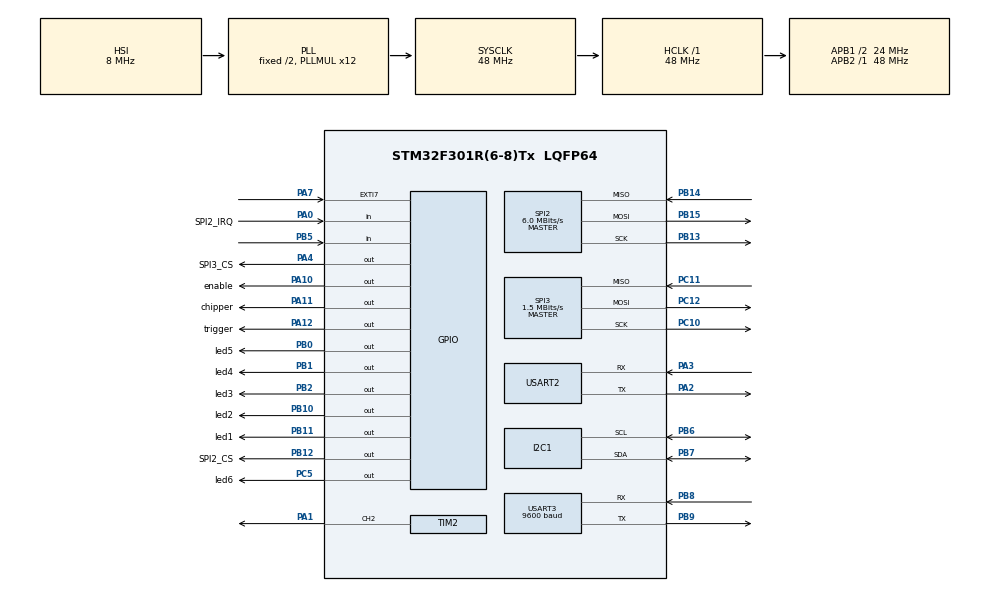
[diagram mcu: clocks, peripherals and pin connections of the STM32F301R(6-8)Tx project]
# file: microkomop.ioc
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I2C1.Timing=0x2000090E
Mcu.Family=STM32F3
Mcu.Name=STM32F301R(6-8)Tx
Mcu.Package=LQFP64
NVIC.EXTI9_5_IRQn=true\:1\:0\:true\:false\:true
NVIC.PriorityGroup=NVIC_PRIORITYGROUP_4
NVIC.TIM1_UP_TIM16_IRQn=true\:0\:0\:false\:false\:true
NVIC.USART3_IRQn=true\:0\:0\:false\:false\:true
PA0.GPIO_Label=SPI2_IRQ
PA0.Signal=GPIO_Input
PA1.Signal=S_TIM2_CH2
PA10.GPIO_Label=enable
PA10.Signal=GPIO_Output
PA11.GPIO_Label=chipper
PA11.Signal=GPIO_Output
PA12.GPIO_Label=trigger
PA12.Signal=GPIO_Output
PA13.Mode=Serial_Wire
PA13.Signal=SYS_JTMS-SWDIO
PA14.Mode=Serial_Wire
PA14.Signal=SYS_JTCK-SWCLK
PA2.Mode=Asynchronous
PA2.Signal=USART2_TX
PA3.Mode=Asynchronous
PA3.Signal=USART2_RX
PA4.GPIO_Label=SPI3_CS
PA4.Signal=GPIO_Output
PA7.GPIO_ModeDefaultEXTI=GPIO_MODE_IT_FALLING
PA7.Signal=GPXTI7
PB0.GPIO_Label=led5
PB0.Signal=GPIO_Output
PB1.GPIO_Label=led4
PB1.Signal=GPIO_Output
PB10.GPIO_Label=led2
PB10.Signal=GPIO_Output
PB11.GPIO_Label=led1
PB11.Signal=GPIO_Output
PB12.GPIO_Label=SPI2_CS
PB12.Signal=GPIO_Output
PB13.Mode=Full_Duplex_Master
PB13.Signal=SPI2_SCK
PB14.Mode=Full_Duplex_Master
PB14.Signal=SPI2_MISO
PB15.Mode=Full_Duplex_Master
PB15.Signal=SPI2_MOSI
PB2.GPIO_Label=led3
PB2.Signal=GPIO_Output
PB3.Signal=SYS_JTDO-TRACESWO
PB4.Signal=SYS_NJTRST
PB5.Signal=GPIO_Input
PB6.Mode=I2C
PB6.Signal=I2C1_SCL
PB7.Mode=I2C
PB7.Signal=I2C1_SDA
PB8.Mode=Asynchronous
PB8.Signal=USART3_RX
PB9.Mode=Asynchronous
PB9.Signal=USART3_TX
PC10.Mode=Full_Duplex_Master
PC10.Signal=SPI3_SCK
PC11.Mode=Full_Duplex_Master
PC11.Signal=SPI3_MISO
PC12.Mode=Full_Duplex_Master
PC12.Signal=SPI3_MOSI
PC5.GPIO_Label=led6
PC5.Signal=GPIO_Output
PF0-OSC_IN.Mode=HSE-External-Oscillator
PF0-OSC_IN.Signal=RCC_OSC_IN
PF1-OSC_OUT.Mode=HSE-External-Oscillator
PF1-OSC_OUT.Signal=RCC_OSC_OUT
ProjectManager.HeapSize=0x200
ProjectManager.StackSize=0x400
ProjectManager.TargetToolchain=SW4STM32
RCC.AHBFreq_Value=48000000
RCC.APB1CLKDivider=RCC_HCLK_DIV2
RCC.APB1Freq_Value=24000000
RCC.APB1TimFreq_Value=48000000
RCC.APB2Freq_Value=48000000
RCC.APB2TimFreq_Value=48000000
RCC.CortexFreq_Value=48000000
RCC.HCLKFreq_Value=48000000
RCC.HSE_VALUE=8000000
RCC.HSI_VALUE=8000000
RCC.LSE_VALUE=32768
RCC.PLLMUL=RCC_PLL_MUL12
RCC.SYSCLKFreq_VALUE=48000000
RCC.SYSCLKSourceVirtual=RCC_SYSCLKSOURCE_PLLCLK
SH.S_TIM2_CH2.0=TIM2_CH2,PWM Generation2 CH2
SPI2.BaudRatePrescaler=SPI_BAUDRATEPRESCALER_4
SPI2.CalculateBaudRate=6.0 MBits/s
SPI2.DataSize=SPI_DATASIZE_8BIT
SPI2.Direction=SPI_DIRECTION_2LINES
SPI2.Mode=SPI_MODE_MASTER
SPI2.VirtualType=VM_MASTER
SPI3.BaudRatePrescaler=SPI_BAUDRATEPRESCALER_16
SPI3.CalculateBaudRate=1.5 MBits/s
SPI3.DataSize=SPI_DATASIZE_8BIT
SPI3.Direction=SPI_DIRECTION_2LINES
SPI3.Mode=SPI_MODE_MASTER
SPI3.VirtualType=VM_MASTER
TIM1.Period=400
TIM1.Prescaler=100
TIM2.Channel-PWM\ Generation2\ CH2=TIM_CHANNEL_2
TIM2.OCMode_PWM-PWM\ Generation2\ CH2=TIM_OCMODE_PWM2
TIM2.Period=1000
TIM2.Prescaler=48
USART2.VirtualMode-Asynchronous=VM_ASYNC
USART2.WordLength=WORDLENGTH_8B
USART3.BaudRate=9600
USART3.VirtualMode-Asynchronous=VM_ASYNC
USART3.WordLength=WORDLENGTH_8B
VP_TIM1_VS_ClockSourceINT.Mode=Internal
VP_TIM2_VS_ClockSourceINT.Mode=Internal
board=microkomop

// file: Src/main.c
/**
  ******************************************************************************
  * File Name          : main.c
  * Description        : Main program body
  ******************************************************************************
  ** This notice applies to any and all portions of this file
  * that are not between comment pairs USER CODE BEGIN and
  * USER CODE END. Other portions of this file, whether
  * inserted by the user or by software development tools
  * are owned by their respective copyright owners.
  *
  * COPYRIGHT(c) 2017 STMicroelectronics
  *
  * Redistribution and use in source and binary forms, with or without modification,
  * are permitted provided that the following conditions are met:
  *   1. Redistributions of source code must retain the above copyright notice,
  *      this list of conditions and the following disclaimer.
  *   2. Redistributions in binary form must reproduce the above copyright notice,
  *      this list of conditions and the following disclaimer in the documentation
  *      and/or other materials provided with the distribution.
  *   3. Neither the name of STMicroelectronics nor the names of its contributors
  *      may be used to endorse or promote products derived from this software
  *      without specific prior written permission.
  *
  * THIS SOFTWARE IS PROVIDED BY THE COPYRIGHT HOLDERS AND CONTRIBUTORS "AS IS"
  * AND ANY EXPRESS OR IMPLIED WARRANTIES, INCLUDING, BUT NOT LIMITED TO, THE
  * IMPLIED WARRANTIES OF MERCHANTABILITY AND FITNESS FOR A PARTICULAR PURPOSE ARE
  * DISCLAIMED. IN NO EVENT SHALL THE COPYRIGHT HOLDER OR CONTRIBUTORS BE LIABLE
  * FOR ANY DIRECT, INDIRECT, INCIDENTAL, SPECIAL, EXEMPLARY, OR CONSEQUENTIAL
  * DAMAGES (INCLUDING, BUT NOT LIMITED TO, PROCUREMENT OF SUBSTITUTE GOODS OR
  * SERVICES; LOSS OF USE, DATA, OR PROFITS; OR BUSINESS INTERRUPTION) HOWEVER
  * CAUSED AND ON ANY THEORY OF LIABILITY, WHETHER IN CONTRACT, STRICT LIABILITY,
  * OR TORT (INCLUDING NEGLIGENCE OR OTHERWISE) ARISING IN ANY WAY OUT OF THE USE
  * OF THIS SOFTWARE, EVEN IF ADVISED OF THE POSSIBILITY OF SUCH DAMAGE.
  *
  ******************************************************************************
  */
#include "main.h"
#include "stm32f3xx_hal.h"
#include "i2c.h"
#include "spi.h"
#include "tim.h"
#include "usart.h"
#include "gpio.h"

/* USER CODE BEGIN Includes */
#include <stdbool.h>
#include "myNRF24.h"
#include "commsfpga.h"
#include "speedcalc.h"
#include "MTiControl.h"
/* USER CODE END Includes */

/* USER CODE BEGIN PV */
/* Private variables ---------------------------------------------------------*/
uint8_t address = 8 ;
uint8_t freqChannel = 78;
bool stop_after_message_complete = true;
bool message_handled_flag = false;

enum HV_states{
	charging,
	idle
} HV_state = idle;
uint HV_timer = 0;
/* USER CODE END PV */

void SystemClock_Config(void);

/* USER CODE BEGIN PFP */
/* Private function prototypes -----------------------------------------------*/
void shoot(uint8_t intensity, uint8_t chipper, uint8_t id);
void HandleMessage();
void MTiErrorHandler(struct XbusMessage const* message);
void printMessageData(struct XbusMessage const* message);
void UintToLeds(uint8_t n);
/* USER CODE END PFP */

/* USER CODE BEGIN 0 */

uint8_t triedSystemClock = 0;
static void trySystemClock(){
	if(triedSystemClock == 0){
		SystemClock_Config();
		triedSystemClock = 1;
	}
}
#define SystemClock_Config trySystemClock

/* USER CODE END 0 */

int main(void)
{

  /* MCU Configuration----------------------------------------------------------*/

  /* Reset of all peripherals, Initializes the Flash interface and the Systick. */
  HAL_Init();

  /* Configure the system clock */
  SystemClock_Config();

  /* Initialize all configured peripherals */
  MX_GPIO_Init();
  MX_I2C1_Init();
  MX_USART2_UART_Init();
  MX_SPI2_Init();
  MX_SPI3_Init();
  MX_TIM2_Init();
  MX_TIM1_Init();
  MX_USART3_UART_Init();

  /* USER CODE BEGIN 2 */
  #undef SystemClock_Config
  UintToLeds(address);
  HAL_Delay(1000);

  //init dribbler
  TIM_OC_InitTypeDef dribbler;
  int kickprev=0;

  dribbler.OCMode = TIM_OCMODE_PWM2;
  dribbler.Pulse = 0;
  dribbler.OCPolarity = TIM_OCPOLARITY_HIGH;
  dribbler.OCFastMode = TIM_OCFAST_DISABLE;

  if (HAL_TIM_PWM_ConfigChannel(&htim2, &dribbler, TIM_CHANNEL_2) != HAL_OK){
		 Error_Handler();
  }

  HAL_TIM_PWM_Start(&htim2,TIM_CHANNEL_2);

  /* USER CODE END 2 */

  /* Infinite loop */
  /* USER CODE BEGIN WHILE */
  nssHigh(&hspi2);

  initRobo(&hspi2, freqChannel, address);
  dataPacket dataStruct;
  wheelVelocityPacket wheely;
  wheelVelocityPacket backWheely;
  float prevWheelCommand[4];

  wheely.velocityWheel1 = 0;
  wheely.velocityWheel2 = 0;
  wheely.velocityWheel3 = 0;
  wheely.velocityWheel4 = 0;
  int stopCnt = 0;

  int kickPrevCnt = 1000;
  int kickCount = 0;
  //int kickCount = 0;
  UintToLeds(0);// preferably a power of 2

  volatile uint8_t test;
  uint LastPackageTime;

  test = readReg(&hspi2, 0x05);

  while (1)
  {
	  if(irqRead(&hspi2)){
		  LastPackageTime = HAL_GetTick();
		  HV_state = charging;
		  stopCnt = 0;
		  roboCallback(&hspi2, &dataStruct);
		  if(dataStruct.robotID == address){

			  	  kickCount++;
			  	  if (kickCount > 60){
			  		HAL_GPIO_WritePin(enable_GPIO_Port, enable_Pin, 0);
			  		kickCount = 0;
			  	  }else if(kickCount < 60){
			  		HAL_GPIO_WritePin(enable_GPIO_Port, enable_Pin, 1);
			  	  }

			  HAL_GPIO_TogglePin(led3_GPIO_Port, led3_Pin);
			  calcMotorSpeed(&dataStruct, &wheely, &prevWheelCommand);

			  //dribbler
			  dribbler.Pulse=125*dataStruct.driblerSpeed;

			  if (HAL_TIM_PWM_ConfigChannel(&htim2, &dribbler, TIM_CHANNEL_2) != HAL_OK){
				  Error_Handler();
			  }

			  HAL_TIM_PWM_Start(&htim2,TIM_CHANNEL_2);

			  //kicker
			  if (dataStruct.kickForce != 0){
				  if(kickPrevCnt >= 999){
					  kickPrevCnt = 0;
					  shoot(dataStruct.kickForce, dataStruct.chipper, address);
					  dataStruct.kickForce = 0;
				  }
			  }
		  }

	  }else{
		  if (HAL_GetTick()-LastPackageTime>1000){
			  HV_state = idle;
		  }
	  }

	  /*switch(HV_state){
	  case idle:
		  break;
	  case charging:
		  if(HAL_GetTick()%1000){
			  HAL_GPIO_WritePin(enable_GPIO_Port, enable_Pin, 0);
		  }else{
			  HAL_GPIO_WritePin(enable_GPIO_Port, enable_Pin, 1);
		  }
		  break;
	  }*/

	  sendReceivePacket(&hspi3, &wheely, &backWheely);

	  HAL_Delay(1);

	  if(stopCnt > 250){
		  stopCnt = 0;
		  wheely.velocityWheel1 = 0;
		  wheely.velocityWheel2 = 0;
		  wheely.velocityWheel3 = 0;
		  wheely.velocityWheel4 = 0;
	  }
	  else{
		  stopCnt++;
	  }
	  UintToLeds(stopCnt & (16+32));

	  if(kickPrevCnt < 1000){
		  kickPrevCnt++;
	  }
  /* USER CODE END WHILE */

  }

}

/** System Clock Configuration
*/
void SystemClock_Config(void)
{

  RCC_OscInitTypeDef RCC_OscInitStruct;
  RCC_ClkInitTypeDef RCC_ClkInitStruct;
  RCC_PeriphCLKInitTypeDef PeriphClkInit;

    /**Initializes the CPU, AHB and APB busses clocks
    */
  RCC_OscInitStruct.OscillatorType = RCC_OSCILLATORTYPE_HSI;
  RCC_OscInitStruct.HSIState = RCC_HSI_ON;
  RCC_OscInitStruct.HSICalibrationValue = 16;
  RCC_OscInitStruct.PLL.PLLState = RCC_PLL_ON;
  RCC_OscInitStruct.PLL.PLLSource = RCC_PLLSOURCE_HSI;
  RCC_OscInitStruct.PLL.PLLMUL = RCC_PLL_MUL12;
  if (HAL_RCC_OscConfig(&RCC_OscInitStruct) != HAL_OK)
  {
    _Error_Handler(__FILE__, __LINE__);
  }

    /**Initializes the CPU, AHB and APB busses clocks
    */
  RCC_ClkInitStruct.ClockType = RCC_CLOCKTYPE_HCLK|RCC_CLOCKTYPE_SYSCLK
                              |RCC_CLOCKTYPE_PCLK1|RCC_CLOCKTYPE_PCLK2;
  RCC_ClkInitStruct.SYSCLKSource = RCC_SYSCLKSOURCE_PLLCLK;
  RCC_ClkInitStruct.AHBCLKDivider = RCC_SYSCLK_DIV1;
  RCC_ClkInitStruct.APB1CLKDivider = RCC_HCLK_DIV2;
  RCC_ClkInitStruct.APB2CLKDivider = RCC_HCLK_DIV1;

  if (HAL_RCC_ClockConfig(&RCC_ClkInitStruct, FLASH_LATENCY_1) != HAL_OK)
  {
    _Error_Handler(__FILE__, __LINE__);
  }

  PeriphClkInit.PeriphClockSelection = RCC_PERIPHCLK_I2C1|RCC_PERIPHCLK_TIM1;
  PeriphClkInit.I2c1ClockSelection = RCC_I2C1CLKSOURCE_HSI;
  PeriphClkInit.Tim1ClockSelection = RCC_TIM1CLK_HCLK;
  if (HAL_RCCEx_PeriphCLKConfig(&PeriphClkInit) != HAL_OK)
  {
    _Error_Handler(__FILE__, __LINE__);
  }

    /**Configure the Systick interrupt time
    */
  HAL_SYSTICK_Config(HAL_RCC_GetHCLKFreq()/1000);

    /**Configure the Systick
    */
  HAL_SYSTICK_CLKSourceConfig(SYSTICK_CLKSOURCE_HCLK);

  /* SysTick_IRQn interrupt configuration */
  HAL_NVIC_SetPriority(SysTick_IRQn, 0, 0);
}

/* USER CODE BEGIN 4 */
void shoot(uint8_t intensity, uint8_t chipper, uint8_t id){

	/*HAL_GPIO_WritePin(trigger_GPIO_Port, trigger_Pin, GPIO_PIN_SET);
	HAL_Delay(100);
	HAL_GPIO_WritePin(trigger_GPIO_Port, trigger_Pin, GPIO_PIN_RESET);*/

	int period = 0 + intensity*25;

	htim1.Init.Period = period;

	HAL_TIM_Base_Init(&htim1);

	//DEBUG
	//id == 10 because kicker 10 is broken
	if(chipper == 0 && id != 0){
		HAL_GPIO_WritePin(chipper_GPIO_Port, chipper_Pin, GPIO_PIN_SET);
	}
	else{
		HAL_GPIO_WritePin(trigger_GPIO_Port, trigger_Pin, GPIO_PIN_SET);
	}
	HAL_TIM_Base_Start_IT(&htim1);

}
void HandleMessage(){
	if(ReceivedMessageStorage->mid == XMID_Error){
		MTiErrorHandler(ReceivedMessageStorage);
	}else if(ReceivedMessageStorage->mid == XMID_MTData2){
		printMessageData(ReceivedMessageStorage);
	}
	message_handled_flag = 1;
	DeallocateMem();
}

void MTiErrorHandler(struct XbusMessage const* message){
	CancelMtiOperation();
	uint16_t i = 0;
	uint8_t j = 0;
	while(1){
		if(!(++i)){
			if(!(++j)){
				  HAL_GPIO_TogglePin(led1_GPIO_Port, led1_Pin);
				  HAL_GPIO_TogglePin(led2_GPIO_Port, led2_Pin);
				  HAL_GPIO_TogglePin(led3_GPIO_Port, led3_Pin);
				  HAL_GPIO_TogglePin(led4_GPIO_Port, led4_Pin);
				  HAL_GPIO_TogglePin(led5_GPIO_Port, led5_Pin);
				  HAL_GPIO_TogglePin(led6_GPIO_Port, led6_Pin);
			}
		}
	}

}
void printMessageData(struct XbusMessage const* message){
	if (!message)
		return;
	uint16_t counter;
	if (XbusMessage_getDataItem(&counter, XDI_PacketCounter, message))
	{
	}
	uint32_t SampleTimeFine;
	if (XbusMessage_getDataItem(&SampleTimeFine, XDI_SampleTimeFine, message))
	{

	}
	float ori[4];
	if (XbusMessage_getDataItem(ori, XDI_Quaternion, message))
	{
	}
	float angles[3];
	if (XbusMessage_getDataItem(angles, XDI_EulerAngles, message))
	{
	}
	float delta_v[3];
	if (XbusMessage_getDataItem(delta_v, XDI_DeltaV, message))
	{
	}
	float acc[3];
	if (XbusMessage_getDataItem(acc, XDI_Acceleration, message))
	{
		UintToLeds((uint8_t)(acc[0]*3));
	}
	float gyr[3];
	if (XbusMessage_getDataItem(gyr, XDI_RateOfTurn, message))
	{
	}
	float delta_q[4];
	if (XbusMessage_getDataItem(delta_q, XDI_Quaternion, message))
	{
	}
	float mag[3];
	if (XbusMessage_getDataItem(mag, XDI_MagneticField, message))
	{
	}
	uint32_t status;
	if (XbusMessage_getDataItem(&status, XDI_StatusWord, message))
	{

	}
}
void UintToLeds(uint8_t n){
	  HAL_GPIO_WritePin(led1_GPIO_Port, led1_Pin, n & 1);
	  HAL_GPIO_WritePin(led2_GPIO_Port, led2_Pin, n & 2);
	  HAL_GPIO_WritePin(led3_GPIO_Port, led3_Pin, n & 4);
	  HAL_GPIO_WritePin(led4_GPIO_Port, led4_Pin, n & 8);
	  HAL_GPIO_WritePin(led5_GPIO_Port, led5_Pin, n & 16);
	  HAL_GPIO_WritePin(led6_GPIO_Port, led6_Pin, n & 32);
}

/* USER CODE END 4 */

void _Error_Handler(char * file, int line)
{
  while(1)
  {
  }
}

/************************ (C) COPYRIGHT STMicroelectronics *****END OF FILE****/
